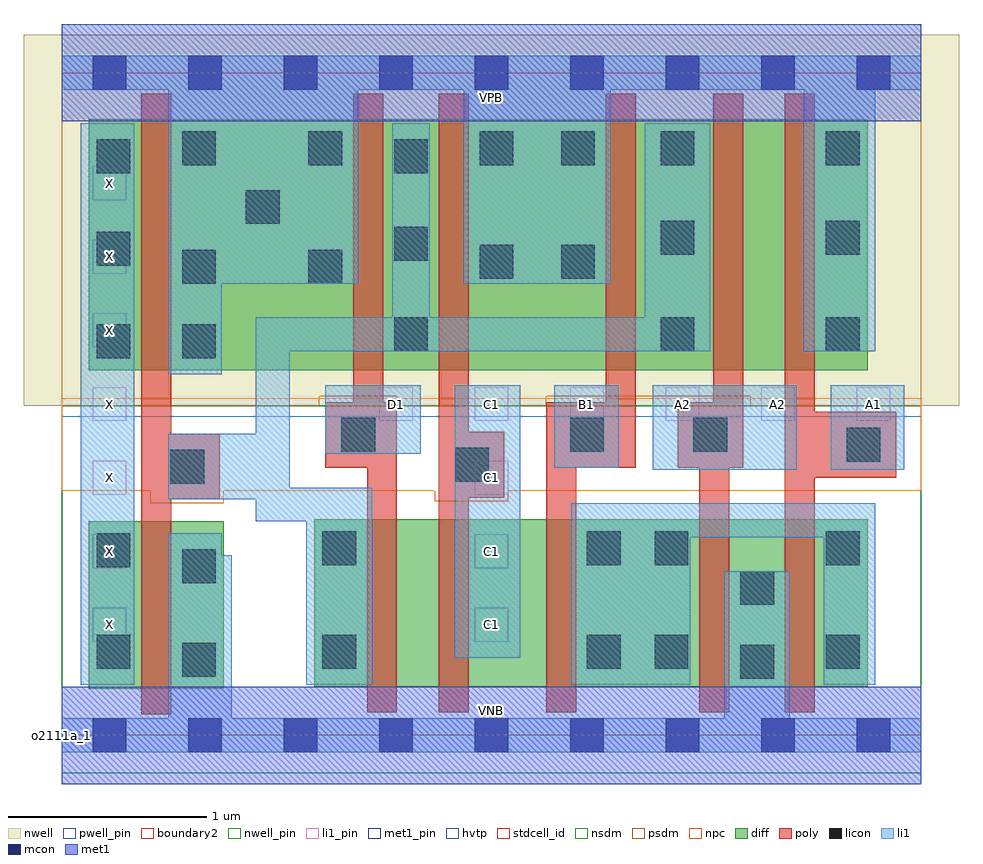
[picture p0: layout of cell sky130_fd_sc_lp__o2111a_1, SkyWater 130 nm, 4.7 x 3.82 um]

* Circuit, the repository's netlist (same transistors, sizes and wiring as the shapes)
* Copyright 2020 The SkyWater PDK Authors
*
* Licensed under the Apache License, Version 2.0 (the "License");
* you may not use this file except in compliance with the License.
* You may obtain a copy of the License at
*
*     https://www.apache.org/licenses/LICENSE-2.0
*
* Unless required by applicable law or agreed to in writing, software
* distributed under the License is distributed on an "AS IS" BASIS,
* WITHOUT WARRANTIES OR CONDITIONS OF ANY KIND, either express or implied.
* See the License for the specific language governing permissions and
* limitations under the License.
*
* SPDX-License-Identifier: Apache-2.0

.SUBCKT sky130_fd_sc_lp__o2111a_1 A1 A2 B1 C1 D1 VGND VNB VPB VPWR X
*.PININFO A1:I A2:I B1:I C1:I D1:I VGND:I VNB:I VPB:I VPWR:I X:O
MMPA0 VPWR A1 sndA1 VPB sky130_fd_pr__pfet_01v8_hvt m=1 w=1.26U l=0.15U mult=1
+ sa=0.265 sb=0.265 sd=0.28 area=0.063 perim=1.14
MMPA1 sndA1 A2 y VPB sky130_fd_pr__pfet_01v8_hvt m=1 w=1.26U l=0.15U mult=1 sa=0.265
+ sb=0.265 sd=0.28 area=0.063 perim=1.14
MMPB0 VPWR B1 y VPB sky130_fd_pr__pfet_01v8_hvt m=1 w=1.26U l=0.15U mult=1 sa=0.265
+ sb=0.265 sd=0.28 area=0.063 perim=1.14
MMPC0 VPWR C1 y VPB sky130_fd_pr__pfet_01v8_hvt m=1 w=1.26U l=0.15U mult=1 sa=0.265
+ sb=0.265 sd=0.28 area=0.063 perim=1.14
MMPD0 VPWR D1 y VPB sky130_fd_pr__pfet_01v8_hvt m=1 w=1.26U l=0.15U mult=1 sa=0.265
+ sb=0.265 sd=0.28 area=0.063 perim=1.14
MMIPX X y VPWR VPB sky130_fd_pr__pfet_01v8_hvt m=1 w=1.26U l=0.15U mult=1 sa=0.265
+ sb=0.265 sd=0.28 area=0.063 perim=1.14
MMNA0 pndA A1 VGND VNB sky130_fd_pr__nfet_01v8 m=1 w=0.84U l=0.15U mult=1 sa=0.265
+ sb=0.265 sd=0.28 area=0.063 perim=1.14
MMNA1 pndA A2 VGND VNB sky130_fd_pr__nfet_01v8 m=1 w=0.84U l=0.15U mult=1 sa=0.265
+ sb=0.265 sd=0.28 area=0.063 perim=1.14
MMNB0 pndB B1 pndA VNB sky130_fd_pr__nfet_01v8 m=1 w=0.84U l=0.15U mult=1 sa=0.265
+ sb=0.265 sd=0.28 area=0.063 perim=1.14
MMNC0 pndC C1 pndB VNB sky130_fd_pr__nfet_01v8 m=1 w=0.84U l=0.15U mult=1 sa=0.265
+ sb=0.265 sd=0.28 area=0.063 perim=1.14
MMND0 y D1 pndC VNB sky130_fd_pr__nfet_01v8 m=1 w=0.84U l=0.15U mult=1 sa=0.265
+ sb=0.265 sd=0.28 area=0.063 perim=1.14
MMINX X y VGND VNB sky130_fd_pr__nfet_01v8 m=1 w=0.84U l=0.15U mult=1 sa=0.265
+ sb=0.265 sd=0.28 area=0.063 perim=1.14
.ENDS sky130_fd_sc_lp__o2111a_1

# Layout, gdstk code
import gdstk
lib = gdstk.Library(unit=1e-6, precision=1e-09)
def R(c, l, rs):  # rectangles x0, y0, x1, y1
    for r in rs: c.add(gdstk.rectangle(r[:2], r[2:], *l))
def A(c, l, x, y, w, h, nx, ny, dx, dy):  # array of equal rectangles
    R(c, l, [(x+i*dx, y+j*dy, x+i*dx+w, y+j*dy+h) for i in range(nx) for j in range(ny)])
def P(c, l, *ps):  # polygons
    for p in ps: c.add(gdstk.Polygon(p, *l))
nwell_pin = (64, 16)
nwell = (64, 20)
diff = (65, 20)
poly = (66, 20)
licon = (66, 44)
li1_pin = (67, 16)
li1 = (67, 20)
mcon = (67, 44)
met1_pin = (68, 16)
met1 = (68, 20)
hvtp = (78, 44)
stdcell_id = (81, 4)
nsdm = (93, 44)
psdm = (94, 20)
npc = (95, 20)
pwell_pin = (122, 16)
boundary2 = (236, 0)

sky130_fd_sc_lp__o2111a_ = lib.new_cell('sky130_fd_sc_lp__o2111a_1')
R(sky130_fd_sc_lp__o2111a_, nwell_pin, [(0,3.085,4.32,3.33)])
R(sky130_fd_sc_lp__o2111a_, nwell, [(-0.19,1.655,4.51,3.52)])
R(sky130_fd_sc_lp__o2111a_, diff, [(0.135,0.235,0.815,1.075), (1.27,0.245,4.05,1.085), (0.135,1.835,4.05,3.095)])
P(sky130_fd_sc_lp__o2111a_, poly, [(0.795,1.515),(0.55,1.515),(0.55,3.225),(0.4,3.225),(0.4,0.105),(0.55,0.105),(0.55,1.185),(0.795,1.185)],
  [(1.685,1.675),(1.615,1.675),(1.615,3.225),(1.465,3.225),(1.465,1.675),(1.325,1.675),(1.325,1.345),(1.535,1.345),(1.535,0.115),(1.685,0.115)],
  [(2.225,1.525),(2.045,1.525),(2.045,3.225),(1.895,3.225),(1.895,0.115),(2.045,0.115),(2.045,1.195),(2.225,1.195)],
  [(4.195,1.625),(3.785,1.625),(3.785,3.225),(3.635,3.225),(3.635,0.115),(3.785,0.115),(3.785,1.295),(4.195,1.295)],
  [(2.885,3.225),(2.735,3.225),(2.735,1.675),(2.435,1.675),(2.435,0.115),(2.585,0.115),(2.585,1.345),(2.885,1.345)],
  [(3.425,3.225),(3.275,3.225),(3.275,1.675),(3.095,1.675),(3.095,1.345),(3.205,1.345),(3.205,0.115),(3.355,0.115),(3.355,1.345),(3.425,1.345)])
A(sky130_fd_sc_lp__o2111a_, licon, 0.175, 1.895, 0.17, 0.17, 1, 3, 0, 0.465)
R(sky130_fd_sc_lp__o2111a_, licon, [(3.41,0.285,3.58,0.455), (0.605,0.295,0.775,0.465), (0.175,0.335,0.345,0.505), (1.31,0.335,1.48,0.505), (2.64,0.335,2.81,0.505), (2.98,0.335,3.15,0.505), (3.84,0.335,4.01,0.505), (3.41,0.655,3.58,0.825), (0.605,0.765,0.775,0.935), (0.175,0.845,0.345,1.015), (1.31,0.855,1.48,1.025), (2.64,0.855,2.81,1.025), (2.98,0.855,3.15,1.025), (3.84,0.855,4.01,1.025), (0.545,1.265,0.715,1.435), (1.975,1.275,2.145,1.445), (3.945,1.375,4.115,1.545), (1.405,1.425,1.575,1.595), (2.555,1.425,2.725,1.595), (3.175,1.425,3.345,1.595), (0.605,1.895,0.775,2.065), (1.67,1.93,1.84,2.1), (3.01,1.93,3.18,2.1), (3.84,1.93,4.01,2.1), (0.605,2.27,0.775,2.44), (1.24,2.27,1.41,2.44), (2.1,2.295,2.27,2.465), (2.51,2.295,2.68,2.465), (1.67,2.385,1.84,2.555), (3.01,2.415,3.18,2.585), (3.84,2.415,4.01,2.585), (0.925,2.57,1.095,2.74), (1.67,2.825,1.84,2.995), (0.605,2.865,0.775,3.035), (1.24,2.865,1.41,3.035), (2.1,2.865,2.27,3.035), (2.51,2.865,2.68,3.035), (3.01,2.865,3.18,3.035), (3.84,2.865,4.01,3.035)])
A(sky130_fd_sc_lp__o2111a_, li1_pin, 0.155, 0.47, 0.17, 0.17, 1, 7, 0, 0.37)
A(sky130_fd_sc_lp__o2111a_, li1_pin, 2.075, 0.47, 0.17, 0.17, 1, 3, 0, 0.37)
A(sky130_fd_sc_lp__o2111a_, li1_pin, 1.595, 1.58, 0.17, 0.17, 6, 1, 0.48, 0)
R(sky130_fd_sc_lp__o2111a_, li1, [(0.095,0.255,0.365,3.075), (1.975,0.39,2.305,1.76), (2.97,1.335,3.695,1.76), (3.865,1.335,4.235,1.76), (2.475,1.345,2.8,1.76), (1.325,1.415,1.805,1.76)])
P(sky130_fd_sc_lp__o2111a_, li1, [(3.26,3.075),(2.93,3.075),(2.93,2.1),(1.85,2.1),(1.85,3.075),(1.66,3.075),(1.66,2.1),(0.975,2.1),(0.975,1.515),(0.535,1.515),(0.535,1.185),(0.975,1.185),(0.975,1.075),(1.23,1.075),(1.23,0.255),(1.56,0.255),(1.56,1.245),(1.145,1.245),(1.145,1.93),(3.26,1.93)],
  [(4.32,3.415),(0,3.415),(0,3.245),(0.535,3.245),(0.535,1.815),(0.805,1.815),(0.805,2.27),(1.49,2.27),(1.49,3.245),(2.02,3.245),(2.02,2.27),(2.76,2.27),(2.76,3.245),(3.73,3.245),(3.73,1.93),(4.09,1.93),(4.09,3.245),(4.32,3.245)],
  [(4.32,0.085),(3.66,0.085),(3.66,0.825),(3.33,0.825),(3.33,0.085),(0.855,0.085),(0.855,0.905),(0.805,0.905),(0.805,1.015),(0.535,1.015),(0.535,0.085),(0,0.085),(0,-0.085),(4.32,-0.085)],
  [(4.09,1.165),(2.56,1.165),(2.56,0.255),(3.16,0.255),(3.16,0.995),(3.83,0.995),(3.83,0.255),(4.09,0.255)])
A(sky130_fd_sc_lp__o2111a_, mcon, 0.155, -0.085, 0.17, 0.17, 9, 2, 0.48, 3.33)
R(sky130_fd_sc_lp__o2111a_, met1_pin, [(0,0,4.32,0.245), (0,3.085,4.32,3.33)])
R(sky130_fd_sc_lp__o2111a_, met1, [(0,-0.245,4.32,0.245), (0,3.085,4.32,3.575)])
R(sky130_fd_sc_lp__o2111a_, hvtp, [(0,1.6,4.32,3.33)])
R(sky130_fd_sc_lp__o2111a_, stdcell_id, [(0,0,4.32,3.33)])
R(sky130_fd_sc_lp__o2111a_, nsdm, [(0,-0.19,4.32,1.655)])
P(sky130_fd_sc_lp__o2111a_, psdm, [(4.32,3.52),(0,3.52),(0,1.655),(1.295,1.655),(1.295,1.705),(1.685,1.705),(1.685,1.655),(2.435,1.655),(2.435,1.705),(3.46,1.705),(3.46,1.655),(4.32,1.655)])
P(sky130_fd_sc_lp__o2111a_, npc, [(4.32,1.695),(0,1.695),(0,1.23),(0.445,1.23),(0.445,1.165),(0.815,1.165),(0.815,1.23),(1.875,1.23),(1.875,1.175),(2.245,1.175),(2.245,1.23),(4.32,1.23)])
R(sky130_fd_sc_lp__o2111a_, pwell_pin, [(0,0,4.32,0.245)])
R(sky130_fd_sc_lp__o2111a_, boundary2, [(0,0,4.32,3.33)])
sky130_fd_sc_lp__o2111a_.add(gdstk.Label('VNB', (2.16,0.123), layer=64, texttype=59))
sky130_fd_sc_lp__o2111a_.add(gdstk.Label('VPB', (2.16,3.208), layer=64, texttype=5))
sky130_fd_sc_lp__o2111a_.add(gdstk.Label('o2111a_1', (0,0), layer=83, texttype=44))
sky130_fd_sc_lp__o2111a_.add(gdstk.Label('VPWR', (2.16,3.208), layer=68, texttype=5))
sky130_fd_sc_lp__o2111a_.add(gdstk.Label('VGND', (2.16,0.123), layer=68, texttype=5))
sky130_fd_sc_lp__o2111a_.add(gdstk.Label('A1', (4.08,1.665), layer=67, texttype=5))
sky130_fd_sc_lp__o2111a_.add(gdstk.Label('A2', (3.12,1.665), layer=67, texttype=5))
sky130_fd_sc_lp__o2111a_.add(gdstk.Label('A2', (3.6,1.665), layer=67, texttype=5))
sky130_fd_sc_lp__o2111a_.add(gdstk.Label('B1', (2.64,1.665), layer=67, texttype=5))
sky130_fd_sc_lp__o2111a_.add(gdstk.Label('C1', (2.16,0.555), layer=67, texttype=5))
sky130_fd_sc_lp__o2111a_.add(gdstk.Label('C1', (2.16,0.925), layer=67, texttype=5))
sky130_fd_sc_lp__o2111a_.add(gdstk.Label('C1', (2.16,1.295), layer=67, texttype=5))
sky130_fd_sc_lp__o2111a_.add(gdstk.Label('C1', (2.16,1.665), layer=67, texttype=5))
sky130_fd_sc_lp__o2111a_.add(gdstk.Label('D1', (1.68,1.665), layer=67, texttype=5))
sky130_fd_sc_lp__o2111a_.add(gdstk.Label('X', (0.24,0.555), layer=67, texttype=5))
sky130_fd_sc_lp__o2111a_.add(gdstk.Label('X', (0.24,0.925), layer=67, texttype=5))
sky130_fd_sc_lp__o2111a_.add(gdstk.Label('X', (0.24,1.295), layer=67, texttype=5))
sky130_fd_sc_lp__o2111a_.add(gdstk.Label('X', (0.24,1.665), layer=67, texttype=5))
sky130_fd_sc_lp__o2111a_.add(gdstk.Label('X', (0.24,2.035), layer=67, texttype=5))
sky130_fd_sc_lp__o2111a_.add(gdstk.Label('X', (0.24,2.405), layer=67, texttype=5))
sky130_fd_sc_lp__o2111a_.add(gdstk.Label('X', (0.24,2.775), layer=67, texttype=5))

lib.write_gds('sky130_fd_sc_lp__o2111a_1.gds')
